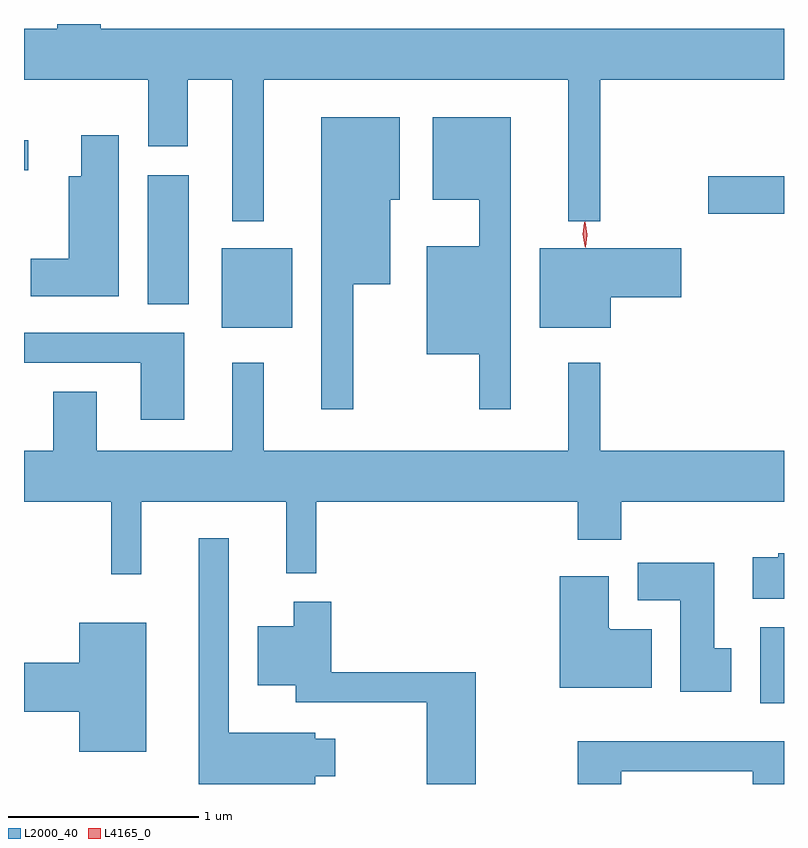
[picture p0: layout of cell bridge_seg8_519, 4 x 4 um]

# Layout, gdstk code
import gdstk
lib = gdstk.Library(unit=1e-6, precision=1e-09)
def R(c, l, rs):  # rectangles x0, y0, x1, y1
    for r in rs: c.add(gdstk.rectangle(r[:2], r[2:], *l))
def P(c, l, *ps):  # polygons
    for p in ps: c.add(gdstk.Polygon(p, *l))
L2000_40 = (2000, 40)
L4165_0 = (4165, 0)

bridge_seg8_519 = lib.new_cell('bridge_seg8_519')
R(bridge_seg8_519, L2000_40, [(211.841,1848.676,211.966,1849.074), (209.006,1850.651,209.379,1851.069), (208.616,1850.776,208.834,1851.454), (211.566,1851.251,211.966,1851.449), (207.966,1851.481,207.988,1851.639)])
P(bridge_seg8_519, L2000_40, [(209.229,1851.956),(210.831,1851.956),(210.831,1851.213),(210.999,1851.213),(210.999,1851.956),(211.966,1851.956),(211.966,1852.224),(208.369,1852.224),(208.369,1852.25),(208.141,1852.25),(208.141,1852.224),(207.966,1852.224),(207.966,1851.956),(208.621,1851.956),(208.621,1851.606),(208.829,1851.606),(208.829,1851.956),(209.061,1851.956),(209.061,1851.213),(209.229,1851.213)],
  [(210.529,1851.759),(210.116,1851.759),(210.116,1851.326),(210.361,1851.326),(210.361,1851.079),(210.086,1851.079),(210.086,1850.511),(210.361,1850.511),(210.361,1850.223),(210.529,1850.223)],
  [(209.699,1850.881),(209.894,1850.881),(209.894,1851.326),(209.944,1851.326),(209.944,1851.759),(209.531,1851.759),(209.531,1850.223),(209.699,1850.223)],
  [(208.464,1851.664),(208.266,1851.664),(208.266,1851.449),(208.201,1851.449),(208.201,1851.014),(208.001,1851.014),(208.001,1850.816),(208.464,1850.816)],
  [(211.054,1850.811),(211.424,1850.811),(211.424,1851.069),(210.681,1851.069),(210.681,1850.651),(211.054,1850.651)],
  [(208.809,1850.624),(207.966,1850.624),(207.966,1850.466),(208.581,1850.466),(208.581,1850.166),(208.809,1850.166)],
  [(208.584,1849.736),(209.346,1849.736),(209.346,1849.358),(209.504,1849.358),(209.504,1849.736),(210.881,1849.736),(210.881,1849.536),(211.109,1849.536),(211.109,1849.736),(211.966,1849.736),(211.966,1850.004),(210.999,1850.004),(210.999,1850.468),(210.831,1850.468),(210.831,1850.004),(209.229,1850.004),(209.229,1850.468),(209.061,1850.468),(209.061,1850.004),(208.349,1850.004),(208.349,1850.314),(208.121,1850.314),(208.121,1850.004),(207.966,1850.004),(207.966,1849.736),(208.426,1849.736),(208.426,1849.353),(208.584,1849.353)],
  [(209.499,1848.291),(209.604,1848.291),(209.604,1848.489),(209.499,1848.489),(209.499,1848.519),(209.044,1848.519),(209.044,1849.543),(208.886,1849.543),(208.886,1848.25),(209.499,1848.25)],
  [(211.966,1849.464),(211.936,1849.464),(211.936,1849.444),(211.801,1849.444),(211.801,1849.226),(211.966,1849.226)],
  [(211.689,1848.964),(211.599,1848.964),(211.599,1849.414),(211.196,1849.414),(211.196,1849.216),(211.421,1849.216),(211.421,1848.736),(211.689,1848.736)],
  [(211.269,1849.064),(211.05,1849.064),(211.05,1849.07),(211.044,1849.07),(211.044,1849.344),(210.786,1849.344),(210.786,1848.756),(211.269,1848.756)],
  [(210.344,1848.839),(209.584,1848.839),(209.584,1849.209),(209.386,1849.209),(209.386,1849.079),(209.196,1849.079),(209.196,1848.771),(209.396,1848.771),(209.396,1848.681),(210.086,1848.681),(210.086,1848.25),(210.344,1848.25)],
  [(208.609,1849.099),(208.256,1849.099),(208.256,1848.889),(207.966,1848.889),(207.966,1848.631),(208.256,1848.631),(208.256,1848.421),(208.609,1848.421)],
  [(211.109,1848.316),(211.801,1848.316),(211.801,1848.25),(211.966,1848.25),(211.966,1848.474),(210.881,1848.474),(210.881,1848.25),(211.109,1848.25)])
P(bridge_seg8_519, L4165_0, [(210.921,1851.074),(210.912,1851.142),(210.92,1851.21),(210.921,1851.21),(210.921,1851.21),(210.931,1851.142),(210.922,1851.074),(210.922,1851.074)],
  [(210.916,1851.08),(210.916,1851.08),(210.906,1851.143),(210.915,1851.206),(210.916,1851.207),(210.916,1851.206),(210.926,1851.144),(210.917,1851.08)])

lib.write_gds('bridge_seg8_519.gds')
